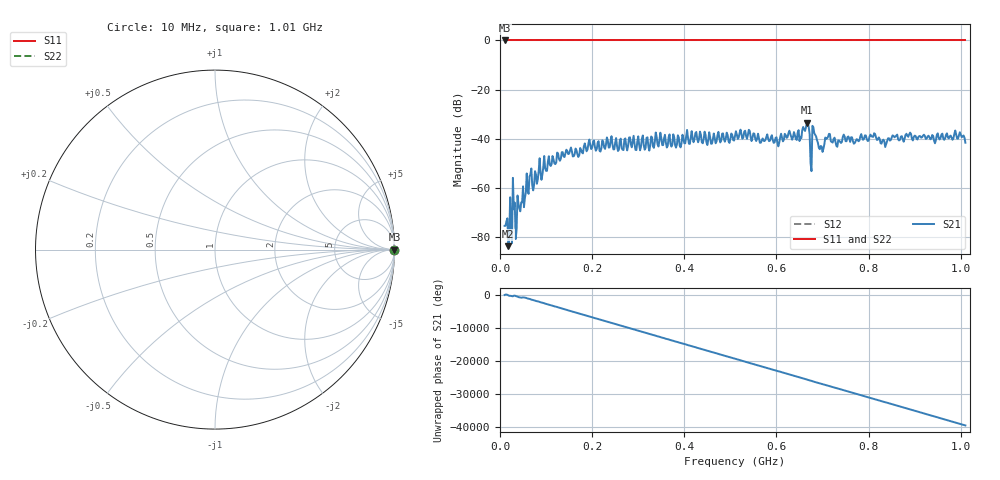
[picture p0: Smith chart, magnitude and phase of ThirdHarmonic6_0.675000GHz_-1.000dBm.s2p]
! 8/15/2025 10:29:49 PM
! C:\ANRITSUVNA\TEMP\TEMP.S2P
! CHANNEL.1
! TR.MEASUREMENT
! RAW.DATA
! RF.CORRECTION.OFF
! AVERAGING.OFF
! IF.BANDWIDTH: 5KHZ
! SWEEPTYPE:  FREQ.SWEEP(Linear)
! Reference Plane Port Info
! PORT:  PORT1  PORT2
! DISTANCE:  0  m  0  m
! TIME:  0  s  0  s
! PHASE.OFFSET:  0  deg.  0  deg.
! LOSS:  0  dB  0  dB
! REF.LOSS:  0  dB  0  dB
! REF.FREQ:  0  Hz  0  Hz
! Power Info
! POWER:  -20  dBm  -20  dBm
! EFF.POWER:  -20  dBm  -20  dBm
! SOURCE.ATTEN:  0  dB  0  dB
! TEST.ATTEN:  0  dB  0  dB
# GHZ S RI R 50.0
! FREQ.GHZ  S11RE  S11IM  S21RE  S21IM  S12RE  S12IM  S22RE  S22IM
!; PortSelection: Port_12
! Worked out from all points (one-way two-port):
!   501 points, 10 MHz to 1.01 GHz, reference 50 ohm
!   highest |S21| = -33.34 dB at 666 MHz (marker M1); lowest = -83.5 dB at 18 MHz (marker M2)
!   lowest |S11| = 0.0 dB at 10 MHz (marker M3)
!   |S11| at or under -10 dB: nowhere
!   |S22| runs from 0.0 to 0.0 dB; largest |S21 - S12| = 1
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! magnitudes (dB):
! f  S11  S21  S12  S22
! 10 MHz  0.0  -75.3  0.0  0.0
! 18 MHz  0.0  -83.5  0.0  0.0
! 22 MHz  0.0  -63.7  0.0  0.0
! 26 MHz  0.0  -82.3  0.0  0.0
! 38 MHz  0.0  -63.0  0.0  0.0
! 42 MHz  0.0  -68.2  0.0  0.0
! 66 MHz  0.0  -54.3  0.0  0.0
! 110 MHz  0.0  -51.0  0.0  0.0
! 178 MHz  0.0  -45.5  0.0  0.0
! 344 MHz  0.0  -43.1  0.0  0.0
! 510 MHz  0.0  -38.8  0.0  0.0
! 604 MHz  0.0  -43.0  0.0  0.0
! 650 MHz  0.0  -40.9  0.0  0.0
! 666 MHz  0.0  -33.3  0.0  0.0
! 672 MHz  0.0  -38.1  0.0  0.0
! 678 MHz  0.0  -34.7  0.0  0.0
! 682 MHz  0.0  -37.6  0.0  0.0
! 698 MHz  0.0  -43.1  0.0  0.0
! 712 MHz  0.0  -39.1  0.0  0.0
! 732 MHz  0.0  -43.2  0.0  0.0
! 844 MHz  0.0  -39.7  0.0  0.0
! 1.01 GHz  0.0  -41.5  0.0  0.0
